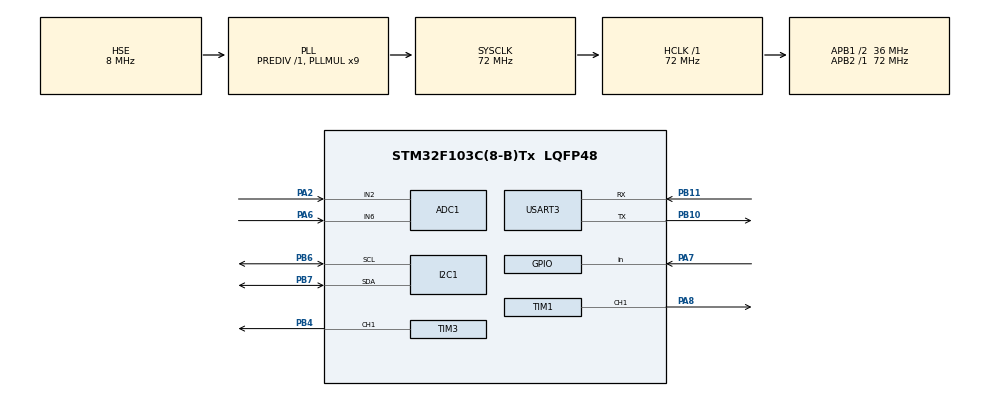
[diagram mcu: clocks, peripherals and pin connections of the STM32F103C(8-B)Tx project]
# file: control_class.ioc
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ADC1.Channel-0\#ChannelRegularConversion=ADC_CHANNEL_2
ADC1.Channel-1\#ChannelRegularConversion=ADC_CHANNEL_6
ADC1.ContinuousConvMode=ENABLE
ADC1.NbrOfConversion=2
ADC1.NbrOfConversionFlag=1
ADC1.Rank-0\#ChannelRegularConversion=1
ADC1.Rank-1\#ChannelRegularConversion=2
ADC1.SamplingTime-0\#ChannelRegularConversion=ADC_SAMPLETIME_55CYCLES_5
ADC1.SamplingTime-1\#ChannelRegularConversion=ADC_SAMPLETIME_55CYCLES_5
ADC1.master=1
Dma.ADC1.0.Direction=DMA_PERIPH_TO_MEMORY
Dma.ADC1.0.Instance=DMA1_Channel1
Dma.ADC1.0.MemDataAlignment=DMA_MDATAALIGN_HALFWORD
Dma.ADC1.0.MemInc=DMA_MINC_ENABLE
Dma.ADC1.0.Mode=DMA_NORMAL
Dma.ADC1.0.PeriphDataAlignment=DMA_PDATAALIGN_HALFWORD
Dma.ADC1.0.PeriphInc=DMA_PINC_DISABLE
Dma.ADC1.0.Priority=DMA_PRIORITY_LOW
Dma.Request0=ADC1
Mcu.Family=STM32F1
Mcu.Name=STM32F103C(8-B)Tx
Mcu.Package=LQFP48
NVIC.ADC1_2_IRQn=true\:1\:0\:true\:false\:true\:true\:true\:true
NVIC.DMA1_Channel1_IRQn=true\:1\:0\:true\:false\:true\:false\:true\:true
NVIC.I2C1_ER_IRQn=true\:0\:0\:true\:false\:true\:true\:true\:true
NVIC.I2C1_EV_IRQn=true\:0\:0\:true\:false\:true\:true\:true\:true
NVIC.PriorityGroup=NVIC_PRIORITYGROUP_4
NVIC.USART3_IRQn=true\:0\:0\:false\:false\:true\:true\:true\:true
PA13.Mode=Serial_Wire
PA13.Signal=SYS_JTMS-SWDIO
PA14.Mode=Serial_Wire
PA14.Signal=SYS_JTCK-SWCLK
PA2.Signal=ADCx_IN2
PA6.Signal=ADCx_IN6
PA7.GPIO_PuPd=GPIO_NOPULL
PA7.Signal=GPIO_Input
PA8.Signal=S_TIM1_CH1
PB10.Mode=Asynchronous
PB10.Signal=USART3_TX
PB11.Mode=Asynchronous
PB11.Signal=USART3_RX
PB4.Signal=S_TIM3_CH1
PB6.Mode=I2C
PB6.Signal=I2C1_SCL
PB7.Mode=I2C
PB7.Signal=I2C1_SDA
PD0-OSC_IN.Mode=HSE-External-Oscillator
PD0-OSC_IN.Signal=RCC_OSC_IN
PD1-OSC_OUT.Mode=HSE-External-Oscillator
PD1-OSC_OUT.Signal=RCC_OSC_OUT
ProjectManager.HeapSize=0x200
ProjectManager.StackSize=0x400
ProjectManager.TargetToolchain=MDK-ARM V5.32
RCC.ADCPresc=RCC_ADCPCLK2_DIV6
RCC.AHBFreq_Value=72000000
RCC.APB1CLKDivider=RCC_HCLK_DIV2
RCC.APB1Freq_Value=36000000
RCC.APB1TimFreq_Value=72000000
RCC.APB2Freq_Value=72000000
RCC.APB2TimFreq_Value=72000000
RCC.HCLKFreq_Value=72000000
RCC.PLLMUL=RCC_PLL_MUL9
RCC.PLLSourceVirtual=RCC_PLLSOURCE_HSE
RCC.SYSCLKFreq_VALUE=72000000
RCC.SYSCLKSource=RCC_SYSCLKSOURCE_PLLCLK
RCC.USBFreq_Value=72000000
SH.ADCx_IN2.0=ADC1_IN2,IN2
SH.ADCx_IN6.0=ADC1_IN6,IN6
SH.S_TIM1_CH1.0=TIM1_CH1,PWM Generation1 CH1
SH.S_TIM3_CH1.0=TIM3_CH1,PWM Generation1 CH1
TIM1.AutoReloadPreload=TIM_AUTORELOAD_PRELOAD_ENABLE
TIM1.Channel-PWM\ Generation1\ CH1=TIM_CHANNEL_1
TIM1.Period=2880-1
TIM1.Prescaler=0
TIM3.Channel-PWM\ Generation1\ CH1=TIM_CHANNEL_1
TIM3.Period=20000-1
TIM3.Prescaler=71
USART3.VirtualMode=VM_ASYNC
VP_TIM1_VS_ClockSourceINT.Mode=Internal
VP_TIM3_VS_ClockSourceINT.Mode=Internal
board=custom

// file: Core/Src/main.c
/* USER CODE BEGIN Header */
/**
  ******************************************************************************
  * @file           : main.c
  * @brief          : Main program body
  ******************************************************************************
  * @attention
  *
  * Copyright (c) 2025 STMicroelectronics.
  * All rights reserved.
  *
  * This software is licensed under terms that can be found in the LICENSE file
  * in the root directory of this software component.
  * If no LICENSE file comes with this software, it is provided AS-IS.
  *
  ******************************************************************************
  */
/* USER CODE END Header */
#include "main.h"
#include "adc.h"
#include "dma.h"
#include "i2c.h"
#include "tim.h"
#include "usart.h"
#include "gpio.h"

/* USER CODE BEGIN Includes */
#include <stdio.h>
#include "pi_control.h"
#include "highlevel_control.h"
#include "stm32f1xx_hal.h"
/* USER CODE END Includes */

void SystemClock_Config(void);

/* USER CODE BEGIN 0 */
uint16_t adc_buffer[2];
extern float output_voltage;
extern float light_value;

extern char RxBuffer[RXBUFFERSIZE];
extern uint8_t aRxBuffer;
extern uint8_t Uart3_Rx_Cnt;
extern char my_order[10];
extern char receive_flag;
extern uint8_t my_mode;
extern uint8_t my_mode_motor;

extern uint8_t voice_cmd_ready;
//extern uint8_t voice_rx_buffer[5];

/* USER CODE END 0 */

int main(void)
{

  /* MCU Configuration--------------------------------------------------------*/

  /* Reset of all peripherals, Initializes the Flash interface and the Systick. */
  HAL_Init();

  /* Configure the system clock */
  SystemClock_Config();

  /* Initialize all configured peripherals */
  MX_GPIO_Init();
  MX_DMA_Init();
  MX_TIM1_Init();
  MX_ADC1_Init();
  MX_USART3_UART_Init();
  MX_I2C1_Init();
  MX_TIM3_Init();
  /* USER CODE BEGIN 2 */
	HAL_TIM_PWM_Start(&htim1,TIM_CHANNEL_1);
	HAL_TIM_PWM_Start(&htim3,TIM_CHANNEL_1);
	HAL_ADC_Start_DMA(&hadc1, (uint32_t *) adc_buffer, 2);

	HAL_UART_Receive_IT(&huart3, (uint8_t *)&aRxBuffer, 1);

  /* USER CODE END 2 */

  /* Infinite loop */
  /* USER CODE BEGIN WHILE */
	HAL_Delay(1000);
	esp8266_start_trans();
	//baoshan();
  while (1)
  {
    /* USER CODE END WHILE */

    /* USER CODE BEGIN 3 */

		//__HAL_TIM_SetCompare(&htim1,TIM_CHANNEL_1,1440);
				//PI_Control(output_voltage);
				//HAL_Delay(1);

		//DO_lamp();
		//AO_lamp(light_value);
		//huxi_changliang();
		//HAL_Delay(1);
		yaokong();
		yuyin();
		mode_change(my_mode);
		mode_change_motor(my_mode_motor);
		HAL_Delay(1);
	}
  /* USER CODE END 3 */
}

void SystemClock_Config(void)
{
  RCC_OscInitTypeDef RCC_OscInitStruct = {0};
  RCC_ClkInitTypeDef RCC_ClkInitStruct = {0};
  RCC_PeriphCLKInitTypeDef PeriphClkInit = {0};

  /** Initializes the RCC Oscillators according to the specified parameters
  * in the RCC_OscInitTypeDef structure.
  */
  RCC_OscInitStruct.OscillatorType = RCC_OSCILLATORTYPE_HSE;
  RCC_OscInitStruct.HSEState = RCC_HSE_ON;
  RCC_OscInitStruct.HSEPredivValue = RCC_HSE_PREDIV_DIV1;
  RCC_OscInitStruct.HSIState = RCC_HSI_ON;
  RCC_OscInitStruct.PLL.PLLState = RCC_PLL_ON;
  RCC_OscInitStruct.PLL.PLLSource = RCC_PLLSOURCE_HSE;
  RCC_OscInitStruct.PLL.PLLMUL = RCC_PLL_MUL9;
  if (HAL_RCC_OscConfig(&RCC_OscInitStruct) != HAL_OK)
  {
    Error_Handler();
  }

  /** Initializes the CPU, AHB and APB buses clocks
  */
  RCC_ClkInitStruct.ClockType = RCC_CLOCKTYPE_HCLK|RCC_CLOCKTYPE_SYSCLK
                              |RCC_CLOCKTYPE_PCLK1|RCC_CLOCKTYPE_PCLK2;
  RCC_ClkInitStruct.SYSCLKSource = RCC_SYSCLKSOURCE_PLLCLK;
  RCC_ClkInitStruct.AHBCLKDivider = RCC_SYSCLK_DIV1;
  RCC_ClkInitStruct.APB1CLKDivider = RCC_HCLK_DIV2;
  RCC_ClkInitStruct.APB2CLKDivider = RCC_HCLK_DIV1;

  if (HAL_RCC_ClockConfig(&RCC_ClkInitStruct, FLASH_LATENCY_2) != HAL_OK)
  {
    Error_Handler();
  }
  PeriphClkInit.PeriphClockSelection = RCC_PERIPHCLK_ADC;
  PeriphClkInit.AdcClockSelection = RCC_ADCPCLK2_DIV6;
  if (HAL_RCCEx_PeriphCLKConfig(&PeriphClkInit) != HAL_OK)
  {
    Error_Handler();
  }
}

/* USER CODE BEGIN 4 */
void HAL_ADC_ConvCpltCallback(ADC_HandleTypeDef * hadc){
    HAL_ADC_Stop_DMA(&hadc1);
    if(hadc == &hadc1){
        uint16_t avg = adc_buffer[0];
        output_voltage = calculate(avg);

				uint16_t light_raw = adc_buffer[1];
				light_value = (float)light_raw * VREF / ADC_MAX;

		}
    HAL_ADC_Start_DMA(&hadc1, (uint32_t*)adc_buffer, 2);
}

void HAL_UART_RxCpltCallback(UART_HandleTypeDef *huart)
{
    if (huart == &huart3) {
    if(Uart3_Rx_Cnt >= 255)
    {
        Uart3_Rx_Cnt = 0;
        memset(RxBuffer,0x00,sizeof(RxBuffer));
    }
    else
    {
        static uint8_t Uart3_count=0;

        RxBuffer[Uart3_Rx_Cnt] = aRxBuffer;
        if(receive_flag==0)
        {
            if(RxBuffer[Uart3_Rx_Cnt - Uart3_count] == '<')
            {
                Uart3_count++;
                if((RxBuffer[Uart3_Rx_Cnt] == '>') || Uart3_count >= 14)
                {
                    uint8_t My_i=0;
                    for(int i = Uart3_Rx_Cnt - Uart3_count + 1; i < Uart3_Rx_Cnt+1; i++)
                    {
                        my_order[My_i++]=RxBuffer[i];
                        receive_flag=1;
                        Uart3_count=0;
                    }
                }
            }
        }
        Uart3_Rx_Cnt++;
    }
    HAL_UART_Receive_IT(&huart3, (uint8_t *)&aRxBuffer, 1);
	}
}

void HAL_I2C_MemRxCpltCallback(I2C_HandleTypeDef *hi2c){
    if (hi2c->Instance == I2C1){
        voice_cmd_ready = 1;
    }
}

void HAL_I2C_ErrorCallback(I2C_HandleTypeDef *hi2c){
    if (hi2c->Instance == I2C1){
        Voice_I2C_Read_Start();
    }
}

/* USER CODE END 4 */

void Error_Handler(void)
{
  __disable_irq();
  while (1)
  {
  }
}
